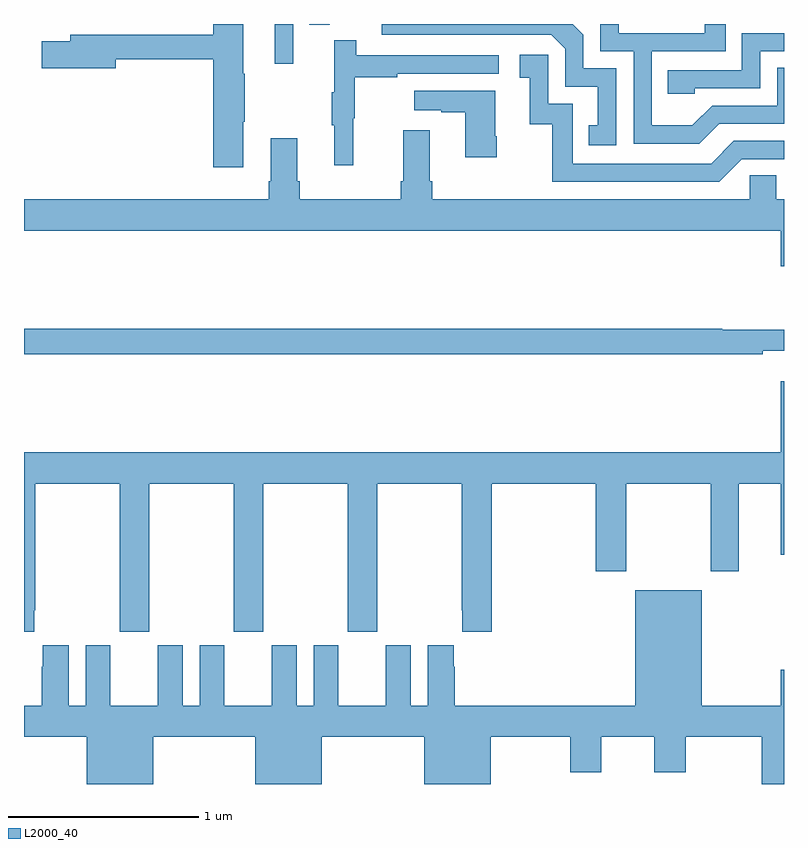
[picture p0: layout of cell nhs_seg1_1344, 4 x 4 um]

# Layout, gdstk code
import gdstk
lib = gdstk.Library(unit=1e-6, precision=1e-09)
def R(c, l, rs):  # rectangles x0, y0, x1, y1
    for r in rs: c.add(gdstk.rectangle(r[:2], r[2:], *l))
def P(c, l, *ps):  # polygons
    for p in ps: c.add(gdstk.Polygon(p, *l))
L2000_40 = (2000, 40)

nhs_seg1_1344 = lib.new_cell('nhs_seg1_1344')
R(nhs_seg1_1344, L2000_40, [(186.32,505.989,186.417,506.199), (186.502,506.194,186.61,506.199)])
P(nhs_seg1_1344, L2000_40, [(186.154,505.684),(186.162,505.684),(186.162,505.937),(186.154,505.937),(186.154,506.199),(185.996,506.199),(185.996,506.143),(185.243,506.143),(185.243,506.109),(185.094,506.109),(185.094,505.967),(185.482,505.967),(185.482,506.014),(185.996,506.014),(185.996,505.446),(186.154,505.446)],
  [(188.118,505.965),(187.944,505.965),(187.944,506.142),(187.887,506.199),(186.882,506.199),(186.882,506.142),(187.776,506.142),(187.848,506.07),(187.848,505.869),(188.021,505.869),(188.021,505.665),(187.972,505.665),(187.972,505.56),(188.118,505.56)],
  [(188.659,505.674),(189,505.674),(189,505.969),(188.964,505.969),(188.964,505.77),(188.622,505.77),(188.518,505.666),(188.304,505.666),(188.304,506.055),(188.693,506.055),(188.693,506.199),(188.582,506.199),(188.582,506.151),(188.131,506.151),(188.131,506.199),(188.034,506.199),(188.034,506.055),(188.208,506.055),(188.208,505.569),(188.554,505.569)],
  [(188.529,505.86),(188.874,505.86),(188.874,506.055),(189,506.055),(189,506.151),(188.778,506.151),(188.778,505.956),(188.389,505.956),(188.389,505.833),(188.529,505.833)],
  [(186.734,505.704),(186.742,505.704),(186.742,505.918),(186.965,505.918),(186.965,505.938),(187.498,505.938),(187.498,506.034),(186.749,506.034),(186.749,506.113),(186.632,506.113),(186.632,505.841),(186.621,505.841),(186.621,505.667),(186.632,505.667),(186.632,505.455),(186.734,505.455)],
  [(188.778,505.488),(189,505.488),(189,505.584),(188.736,505.584),(188.616,505.464),(187.887,505.464),(187.887,505.779),(187.758,505.779),(187.758,506.038),(187.608,506.038),(187.608,505.917),(187.661,505.917),(187.661,505.671),(187.779,505.671),(187.779,505.368),(188.658,505.368)],
  [(187.488,505.609),(187.48,505.609),(187.48,505.849),(187.053,505.849),(187.053,505.745),(187.196,505.745),(187.196,505.735),(187.322,505.735),(187.322,505.497),(187.488,505.497)],
  [(189,505.276),(188.959,505.276),(188.959,505.403),(188.82,505.403),(188.82,505.276),(187.148,505.276),(187.148,505.372),(187.135,505.372),(187.135,505.639),(186.995,505.639),(186.995,505.372),(186.983,505.372),(186.983,505.276),(186.452,505.276),(186.452,505.372),(186.439,505.372),(186.439,505.597),(186.299,505.597),(186.299,505.372),(186.287,505.372),(186.287,505.276),(185,505.276),(185,505.112),(188.984,505.112),(188.984,504.924),(189,504.924)],
  [(188.888,504.479),(189,504.479),(189,504.589),(188.674,504.589),(188.674,504.596),(185,504.596),(185,504.46),(188.888,504.46)],
  [(185,503.001),(185.053,503.001),(185.053,503.113),(185.058,503.113),(185.058,503.78),(185.503,503.78),(185.503,503.001),(185.658,503.001),(185.658,503.78),(186.103,503.78),(186.103,503.001),(186.258,503.001),(186.258,503.78),(186.703,503.78),(186.703,503.001),(186.858,503.001),(186.858,503.78),(187.303,503.78),(187.303,503.113),(187.307,503.113),(187.307,503.001),(187.463,503.001),(187.463,503.78),(188.009,503.78),(188.009,503.319),(188.169,503.319),(188.169,503.78),(188.614,503.78),(188.614,503.319),(188.761,503.319),(188.761,503.78),(188.984,503.78),(188.984,503.406),(189,503.406),(189,504.319),(188.984,504.319),(188.984,503.944),(185,503.944)],
  [(185.68,502.448),(186.218,502.448),(186.218,502.199),(186.568,502.199),(186.568,502.448),(187.106,502.448),(187.106,502.199),(187.456,502.199),(187.456,502.448),(187.874,502.448),(187.874,502.26),(188.038,502.26),(188.038,502.448),(188.318,502.448),(188.318,502.26),(188.482,502.26),(188.482,502.448),(188.882,502.448),(188.882,502.199),(189,502.199),(189,502.801),(188.984,502.801),(188.984,502.612),(188.566,502.612),(188.566,503.218),(188.216,503.218),(188.216,502.612),(187.268,502.612),(187.268,502.817),(187.261,502.817),(187.261,502.93),(187.124,502.93),(187.124,502.612),(187.036,502.612),(187.036,502.93),(186.905,502.93),(186.905,502.612),(186.655,502.612),(186.655,502.93),(186.524,502.93),(186.524,502.612),(186.436,502.612),(186.436,502.93),(186.305,502.93),(186.305,502.612),(186.055,502.612),(186.055,502.93),(185.924,502.93),(185.924,502.612),(185.836,502.612),(185.836,502.93),(185.705,502.93),(185.705,502.612),(185.455,502.612),(185.455,502.93),(185.324,502.93),(185.324,502.612),(185.236,502.612),(185.236,502.93),(185.099,502.93),(185.099,502.817),(185.093,502.817),(185.093,502.612),(185,502.612),(185,502.448),(185.33,502.448),(185.33,502.199),(185.68,502.199)])

lib.write_gds('nhs_seg1_1344.gds')
